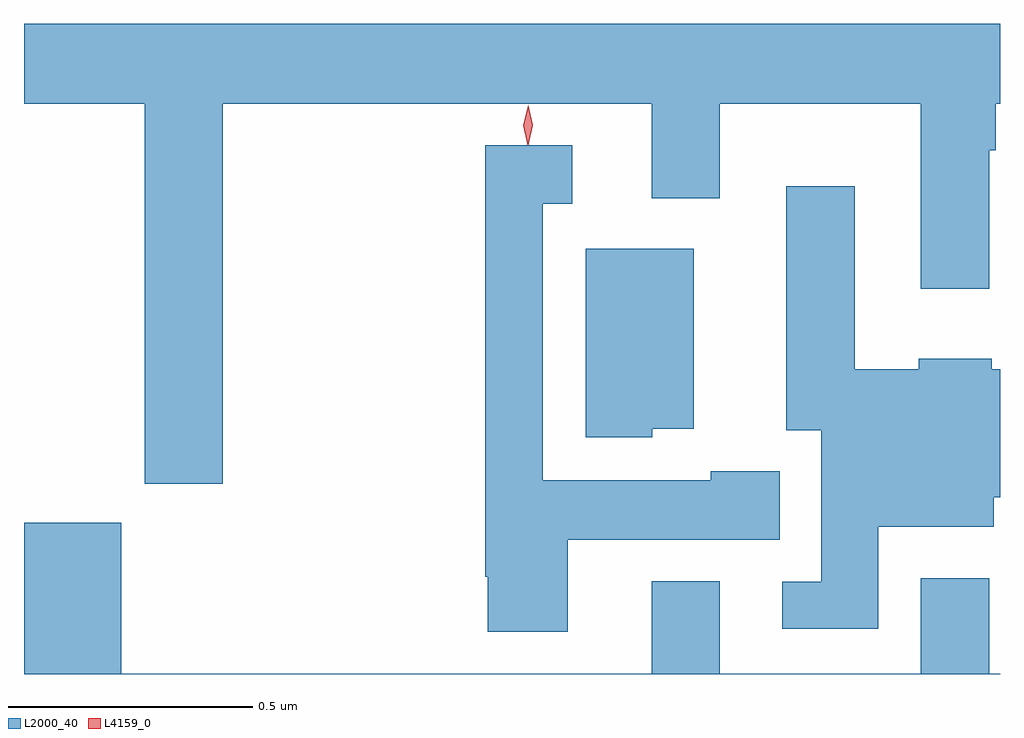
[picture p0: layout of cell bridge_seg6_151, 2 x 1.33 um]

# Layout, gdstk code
import gdstk
lib = gdstk.Library(unit=1e-6, precision=1e-09)
def P(c, l, *ps):  # polygons
    for p in ps: c.add(gdstk.Polygon(p, *l))
L2000_40 = (2000, 40)
L4159_0 = (4159, 0)

bridge_seg6_151 = lib.new_cell('bridge_seg6_151')
P(bridge_seg6_151, L2000_40, [(508.244,980.636),(509.123,980.636),(509.123,980.442),(509.263,980.442),(509.263,980.636),(509.675,980.636),(509.675,980.256),(509.815,980.256),(509.815,980.54),(509.828,980.54),(509.828,980.636),(509.837,980.636),(509.837,980.8),(507.837,980.8),(507.837,980.636),(508.084,980.636),(508.084,979.857),(508.244,979.857)],
  [(508.951,979.742),(509.386,979.742),(509.386,979.882),(509.244,979.882),(509.244,979.864),(508.9,979.864),(508.9,980.431),(508.96,980.431),(508.96,980.551),(508.782,980.551),(508.782,979.666),(508.787,979.666),(508.787,979.554),(508.951,979.554)],
  [(509.587,979.769),(509.824,979.769),(509.824,979.829),(509.837,979.829),(509.837,980.092),(509.82,980.092),(509.82,980.113),(509.67,980.113),(509.67,980.092),(509.539,980.092),(509.539,980.467),(509.399,980.467),(509.399,979.967),(509.471,979.967),(509.471,979.656),(509.391,979.656),(509.391,979.56),(509.587,979.56)],
  [(509.124,979.97),(509.209,979.97),(509.209,980.338),(508.988,980.338),(508.988,979.952),(509.124,979.952)],
  [(509.837,979.468),(509.815,979.468),(509.815,979.663),(509.675,979.663),(509.675,979.468),(509.263,979.468),(509.263,979.657),(509.123,979.657),(509.123,979.468),(508.036,979.468),(508.036,979.777),(507.837,979.777),(507.837,979.466),(509.837,979.466)])
P(bridge_seg6_151, L4159_0, [(508.869,980.551),(508.869,980.551),(508.86,980.592),(508.87,980.633),(508.87,980.633),(508.87,980.633),(508.88,980.592),(508.87,980.551)])

lib.write_gds('bridge_seg6_151.gds')
